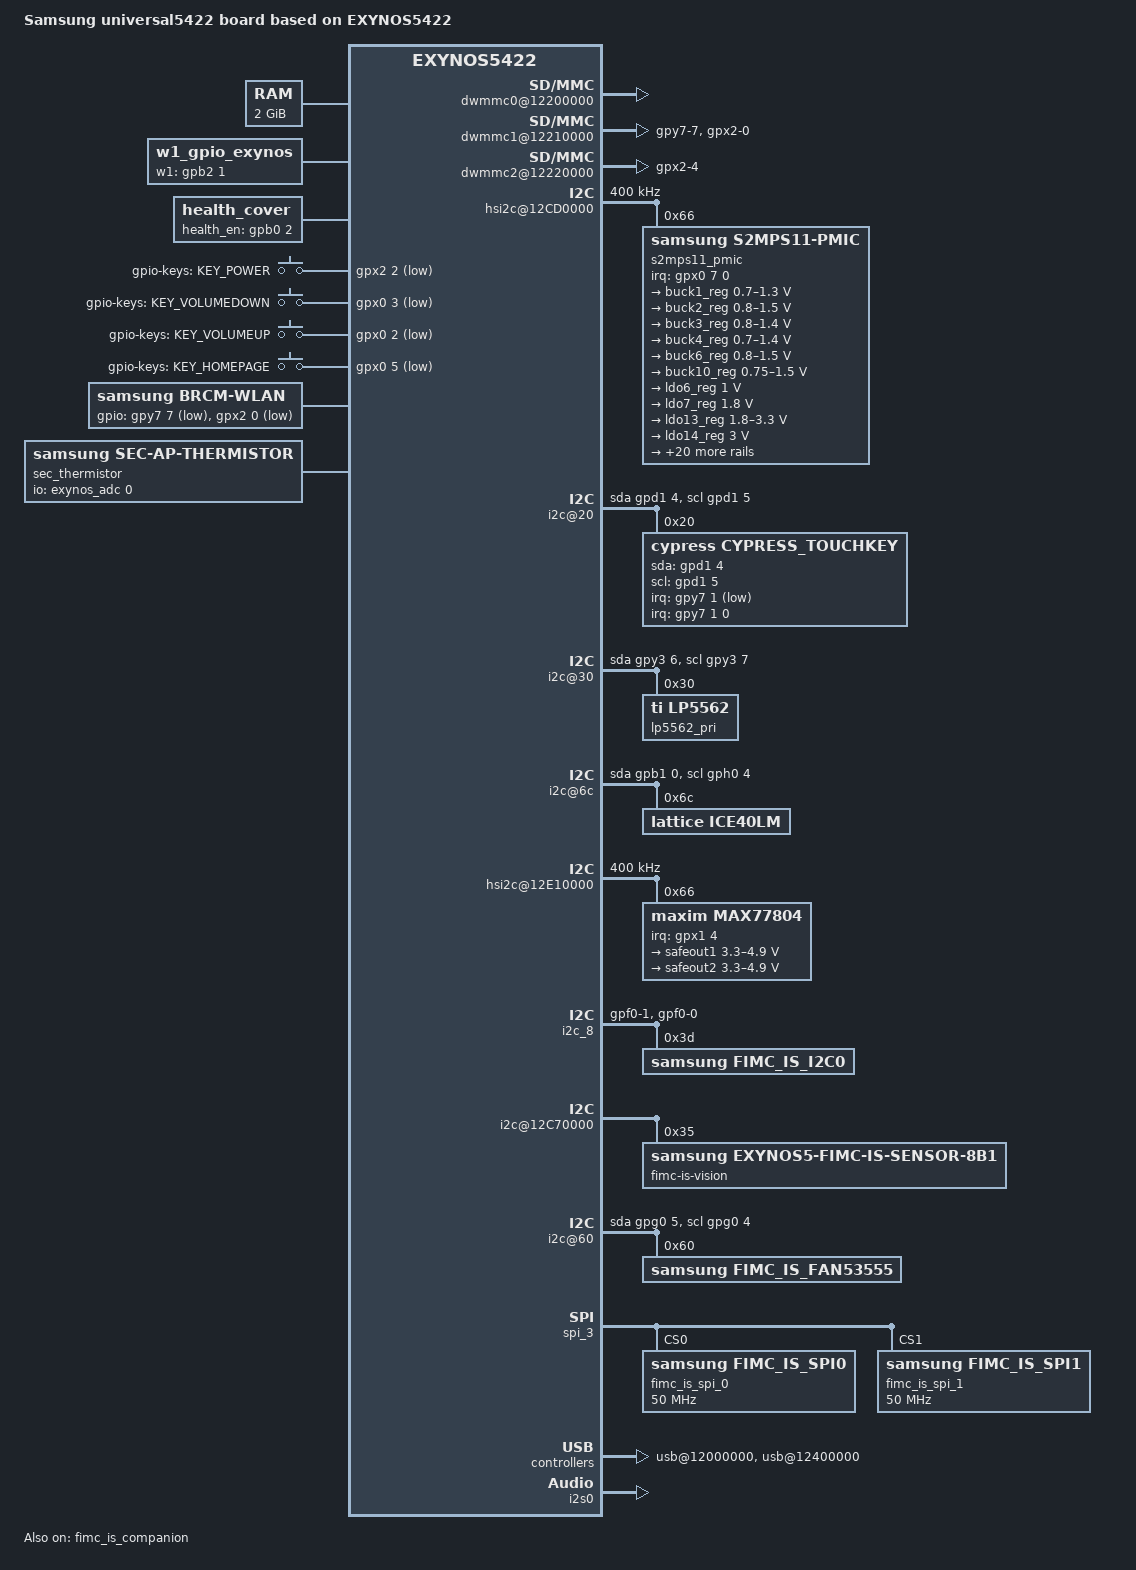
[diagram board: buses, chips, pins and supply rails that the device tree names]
/*
 * SAMSUNG universal5422 board device tree source
 *
 * Copyright (c) 2013 Samsung Electronics Co., Ltd.
 *             http://www.samsung.com
 *
 * This program is free software; you can redistribute it and/or modify
 * it under the terms of the GNU General Public License version 2 as
 * published by the Free Software Foundation.
*/

#include "exynos5422_evt0.dtsi"
#include "exynos5422-k_mhl2x.dtsi"
#include "exynos5422-k_gpio.dtsi"


/ {
	model = "Samsung universal5422 board based on EXYNOS5422";
	compatible = "samsung,universal5422", "samsung,exynos5422";

	memory {
		reg = <0x40000000 0x80000000>;
	};

	chosen {
		bootargs = "console=ttySAC2,115200 vmalloc=512M clk_ignore_unused";
	};

	fixed-rate-clocks {
		oscclk {
			compatible = "samsung,exynos5422-oscclk";
			clock-frequency = <24000000>;
		};
	};

	rtc {
		status = "okay";
	};

	dwmmc0@12200000 {
		status = "okay";
		num-slots = <1>;
		broken-cd;
		bypass-smu;
		fixed_volt;
		clock-gate;
		enable-cclk-on-suspend;
		only_once_tune;
		extra_tuning;
		supports-highspeed;
		supports-hs200-1-8v-mode;
		supports-ddr200-1-8v-mode;
		error-retry;
		enable-cache-control;
		supports-poweroff-notification;
		use-fine-tuning;
		supports-ddr200-enhanced-strobe;
		sw_data_timeout;
		fifo-depth = <0x40>;
		card-detect-delay = <200>;
		qos_int_level = <222000>;
		samsung,dw-mshc-ciu-div = <3>;
		samsung,dw-mshc-sdr-timing = <3 0 4 0>;
		samsung,dw-mshc-ddr-timing = <3 0 2 0>;
		samsung,dw-mshc-hs200-timing = <3 0 2 0>;
		samsung,dw-mshc-ddr200-timing = <1 1 2 0>;
		clk_pin = "gpc0-0";
		clk_addr = "13410000.pinctrl";
		clk_val = <0x3>;
		clk_str_num = <4>;
		num-ref-clks = <8>;
		ciu_clkin = <20812500 41625000 41625000 83250000 166500000 83250000 166500000 333000000>;
		pinctrl-names = "default";
		pinctrl-0 = <&sd0_clk &sd0_cmd &sd0_rdqs &sd0_bus1 &sd0_bus4 &sd0_bus8>;

		slot@0 {
			reg = <0>;
			bus-width = <8>;
		};
	};

	dwmmc1@12210000 {
		status = "okay";
		num-slots = <1>;
		channel = <1>;
		bypass-smu;
		clock-gate;
		caps-control;
		use-fine-tuning;
		ignore-phase = <(1 << 7)>;
		sw-timeout = <1000>;
		enable-cclk-on-suspend;
		fixed_volt;
		supports-highspeed;
		sw_data_timeout;
		supports-sdr104-mode;
		keep-power-in-suspend;
		pm-ignore-notify;
		cd-type-external;
		cd-type = <2>;
		use-broken-voltage;
		fifo-depth = <0x40>;
		card-detect-delay = <200>;
		qos_int_level = <222000>;
		samsung,dw-mshc-ciu-div = <3>;
		samsung,dw-mshc-sdr-timing = <3 0 2 0>;
		samsung,dw-mshc-ddr-timing = <3 0 2 0>;
		clk_pin = "gpc1-0";
		clk_addr = "13410000.pinctrl";
		clk_val = <0x3>;
		clk_str_num = <4>;
		num-ref-clks = <8>;
		ciu_clkin = <25000000 50000000 50000000 100000000 200000000 100000000 200000000 400000000>;
		tp_mon_depth = <3>;
			     /* Byte/s,	 MIF clk, CPU clk, KFC clk*/
		tp_mon_table = <18000000 825000	2000000 1500000
				12000000 413000	0	0
				0	 0	0	0>;
		pinctrl-names = "default";
		//pinctrl-0 = <&sd1_clk &sd1_cmd &sd1_bus1 &sd1_bus4>;
		pinctrl-0 = <&sd1_clk &sd1_cmd &sd1_bus1 &sd1_bus4 &cfg_wlanen &cfg_wlanhostwake>; /* Set WLAN_EN configuration of power down mode */

		slot@0 {
			reg = <0>;
			bus-width = <4>;
		};
	};


	dwmmc2@12220000 {
		status = "okay";
		num-slots = <1>;
		supports-highspeed;
		clock-gate;
		enable-cclk-on-suspend;
		sw_data_timeout;
                use-cpu-mode-tuning;
		use-fine-tuning;
		ignore-phase = <(1 << 7)>;
		fifo-depth = <0x40>;
		card-detect-delay = <200>;
		qos_int_level = <222000>;
		samsung,dw-mshc-ciu-div = <3>;
		samsung,dw-mshc-sdr-timing = <3 0 4 0>;
		samsung,dw-mshc-ddr-timing = <3 0 2 0>;
		clk_pin = "gpc2-0";
		clk_addr = "13410000.pinctrl";
		clk_val = <0x1>;
		clk_str_num = <4>;
		num-ref-clks = <8>;
		ciu_clkin = <20812500 41625000 41625000 83250000 166500000 83250000 166500000 333000000>;
		pinctrl-names = "default", "output";
		pinctrl-0 = <&sd2_clk &sd2_cmd &sd2_bus1 &sd2_bus4 &dwmmc2_cd_irq>;
		pinctrl-1 = <&sd2_clk_output &sd2_cmd_output &sd2_bus1 &sd2_bus4 &dwmmc2_cd_irq>;

		gpio-controller;
		#gpio-cells = <2>;
		cd-gpio = <&gpx2 4 0xf>;

		slot@0 {
			reg = <0>;
			bus-width = <4>;
			disable-wp;
		};
	};

	pinctrl@13400000 {
		pmic_irq: pmic-irq {
			samsung,pins = "gpx0-7";
			samsung,pin-pud = <3>;
			samsung,pin-drv = <3>;
		};

		hall_irq: hall-irq {
			samsung,pins = "gpx0-1";
			samsung,pin-function = <0xf>;
			samsung,pin-pud = <0>;
			samsung,pin-drv = <0>;
		};

		irda_irq: irda-irq {
			samsung,pins = "gpx0-4";
			samsung,pin-function = <0>;
			samsung,pin-pud = <0>;
			samsung,pin-drv = <0>;
		};

		mfd_irq: mfd-irq {
			samsung,pins = "gpx1-4";
			samsung,pin-function = <0>;
			samsung,pin-pud = <0>;
			samsung,pin-drv = <0>;
		};

		fuel_irq: fuel-irq {
			samsung,pins = "gpx1-5";
			samsung,pin-function = <0>;
			samsung,pin-pud = <0>;
			samsung,pin-drv = <0>;
		};

		ssp_ap_int: ssp-ap-int {
			samsung,pins = "gpx3-0";
			samsung,pin-function = <0>;
			samsung,pin-pud = <3>;
			samsung,pin-drv = <3>;
		};

		hrm_int: hrm-int {
			samsung,pins = "gpx3-1";
			samsung,pin-function = <0>;
			samsung,pin-pud = <0>;
			samsung,pin-drv = <3>;
		};

		ssp_irq: ssp-irq {
			samsung,pins = "gpx3-3";
			samsung,pin-function = <0>;
			samsung,pin-pud = <3>;
			samsung,pin-drv = <3>;
		};
		ssp_irq2: ssp-irq2 {
			samsung,pins = "gpx3-4";
			samsung,pin-function = <0>;
			samsung,pin-pud = <3>;
			samsung,pin-drv = <3>;
		};

		/* touchkey interrupt*/
		cfg_irq: cfg-irq {
			samsung,pins = "gpy7-1";
			samsung,pin-function = <0xf>;
			samsung,pin-pud = <0>;
			samsung,pin-drv = <0>;
		};
		cfg_input: cfg-input {
			samsung,pins = "gpy7-1";
			samsung,pin-function = <0>;
			samsung,pin-pud = <1>;
			samsung,pin-drv = <0>;
		};
		dwmmc2_cd_irq: dwmmc2-cd-irq {
			samsung,pins = "gpx2-4";
			samsung,pin-function = <0xf>;
			samsung,pin-pud = <3>;
			samsung,pin-drv = <3>;
		};
	};

	pinctrl@13410000 {
		/* touchkey i2c*/
		cfg_i2c: cfg-i2c {
			samsung,pins = "gpd1-5", "gpd1-4";
			samsung,pin-function = <3>;
			samsung,pin-pud = <0>;
			samsung,pin-drv = <0>;
		};
		cfg_gpio: cfg_gpio {
			samsung,pins = "gpd1-5", "gpd1-4";
			samsung,pin-function = <0>;
			samsung,pin-pud = <0>;
			samsung,pin-drv = <0>;
		};
		pm_wrsti: pm-wrsti {
			samsung,pins = "gpy3-0";
			samsung,pin-con-pdn = <3>;
		};
	};

	hsi2c@12CD0000 {
		clock-frequency = <400000>;
		status = "okay";

		s2mps11_pmic@66 {
			compatible = "samsung,s2mps11-pmic";
			reg = <0x66>;
			interrupts = <7 0 0>;
			interrupt-parent = <&gpx0>;
			pinctrl-names = "default";
			pinctrl-0 = <&pmic_irq &pm_wrsti>;
			/* RTC: wtsr/smpl */
			wtsr_en = <1>; /* enable */
			smpl_en = <1>; /* enable */
			wtsr_timer_val = <3>;	/* 1000ms */
			smpl_timer_val = <0>;	/* 500ms */
			check_jigon = <0>; /* do not check jigon */
			/* RTC: If it's first boot, reset rtc to 1/1/2014 12:00:00(Wed) */
			init_time,sec = <0>;
			init_time,min = <0>;
			init_time,hour = <12>;
			init_time,mday = <1>;
			init_time,mon = <0>;
			init_time,year = <114>;
			init_time,wday = <3>;

			regulators {
				buck1_reg: BUCK1 {
					regulator-name = "vdd_mif";
					regulator-min-microvolt = <700000>;
					regulator-max-microvolt = <1300000>;
					regulator-always-on;
					regulator-boot-on;
					regulator-ramp-delay = <12000>;
					regulator-initial-mode = <1>;
				};

				buck2_reg: BUCK2 {
					regulator-name = "vdd_eagle";
					regulator-min-microvolt = <800000>;
					regulator-max-microvolt = <1500000>;
					regulator-always-on;
					regulator-boot-on;
					regulator-ramp-delay = <12000>;
					regulator-initial-mode = <1>;
				};

				buck3_reg: BUCK3 {
					regulator-name = "vdd_int";
					regulator-min-microvolt = <800000>;
					regulator-max-microvolt = <1400000>;
					regulator-always-on;
					regulator-boot-on;
					regulator-ramp-delay = <12000>;
					regulator-initial-mode = <1>;
				};

				buck4_reg: BUCK4 {
					regulator-name = "vdd_g3d";
					regulator-min-microvolt = <700000>;
					regulator-max-microvolt = <1400000>;
					regulator-always-on;
					regulator-boot-on;
					regulator-ramp-delay = <12000>;
					regulator-initial-mode = <1>;
				};

				buck6_reg: BUCK6 {
					regulator-name = "vdd_kfc";
					regulator-min-microvolt = <800000>;
					regulator-max-microvolt = <1500000>;
					regulator-always-on;
					regulator-boot-on;
					regulator-ramp-delay = <12000>;
					regulator-initial-mode = <1>;
				};

				buck10_reg: BUCK10 {
					regulator-name = "vdd_cam_isp_1.0v";
					regulator-min-microvolt = <750000>;
					regulator-max-microvolt = <1500000>;
					regulator-always-on;
					regulator-boot-on;
					regulator-ramp-delay = <12000>;
					regulator-initial-mode = <1>;
				};

				ldo6_reg: LDO6 {
					regulator-name = "vdd_ldo6";
					regulator-min-microvolt = <1000000>;
					regulator-max-microvolt = <1000000>;
					regulator-always-on;
					regulator-initial-mode = <1>;
				};

				ldo7_reg: LDO7 {
					regulator-name = "vdd_ldo7";
					regulator-min-microvolt = <1800000>;
					regulator-max-microvolt = <1800000>;
					regulator-always-on;
					regulator-initial-mode = <1>;
				};

				ldo13_reg: LDO13 {
					regulator-name = "vqmmc";
					regulator-min-microvolt = <1800000>;
					regulator-max-microvolt = <3300000>;
					regulator-boot-on;
					regulator-ramp-delay = <12000>;
					regulator-initial-mode = <1>;
				};

				ldo14_reg: LDO14 {
					regulator-name = "vcc_3.0v_motor";
					regulator-min-microvolt = <3000000>;
					regulator-max-microvolt = <3000000>;
					regulator-initial-mode = <3>;
				};

				ldo15_reg: LDO15 {
					regulator-name = "VT_CAM_2.8V";
					regulator-min-microvolt = <2800000>;
					regulator-max-microvolt = <2800000>;
				};

				ldo17_reg: LDO17 {
					regulator-name = "IR_3.3V_AP";
					regulator-min-microvolt = <3300000>;
					regulator-max-microvolt = <3300000>;
					regulator-initial-mode = <3>;
				};

				ldo18_reg: LDO18 {
					regulator-name = "vdd_ldo18";
					regulator-min-microvolt = <1800000>;
					regulator-max-microvolt = <1800000>;
					regulator-always-on;
					regulator-initial-mode = <3>;
				};

				ldo19_reg: LDO19 {
					regulator-name = "vmmc";
					regulator-min-microvolt = <1800000>;
					regulator-max-microvolt = <2850000>;
					regulator-boot-on;
					regulator-initial-mode = <1>;
				};

				ldo20_reg: LDO20 {
					regulator-name = "VT_CAM_1.8V";
					regulator-min-microvolt = <1800000>;
					regulator-max-microvolt = <1800000>;
				};

				ldo21_reg: LDO21 {
					regulator-name = "CAM_IO_1.8V_AP";
					regulator-min-microvolt = <1800000>;
					regulator-max-microvolt = <1800000>;
				};

				ldo22_reg: LDO22 {
					regulator-name = "CAM_SEN_CORE_1.2V_AP";
					regulator-min-microvolt = <1200000>;
					regulator-max-microvolt = <1200000>;
				};

				ldo23_reg: LDO23 {
					regulator-name = "vdd_mifs";
					regulator-min-microvolt = <800000>;
					regulator-max-microvolt = <1100000>;
					regulator-always-on;
					regulator-initial-mode = <1>;
					regulator-ramp-delay = <12000>;
				};

				ldo24_reg: LDO24 {
					regulator-name = "HRM_3.3V_AP";
					regulator-min-microvolt = <3300000>;
					regulator-max-microvolt = <3300000>;
				};

				ldo25_reg: LDO25 {
					regulator-name = "vdd_ldo25";
					regulator-min-microvolt = <1800000>;
					regulator-max-microvolt = <1800000>;
					regulator-boot-on;
					regulator-initial-mode = <3>;
				};

				ldo26_reg: LDO26 {
					regulator-name = "CAM_AF_2.8V_AP";
					regulator-min-microvolt = <2800000>;
					regulator-max-microvolt = <2800000>;
				};

				ldo27_reg: LDO27 {
					regulator-name = "vdd_g3ds";
					regulator-min-microvolt = <800000>;
					regulator-max-microvolt = <1100000>;
					regulator-always-on;
					regulator-initial-mode = <1>;
					regulator-ramp-delay = <12000>;
				};

				ldo28_reg: LDO28 {
					regulator-name = "vdd_ldo28";
					regulator-min-microvolt = <3000000>;
					regulator-max-microvolt = <3000000>;
					regulator-boot-on;
					regulator-initial-mode = <3>;
				};


				ldo30_reg: LDO30 {
					regulator-name = "vtouch_1.8v";
					regulator-min-microvolt = <1800000>;
					regulator-max-microvolt = <1800000>;
				};

				ldo31_reg: LDO31 {
					regulator-name = "VDDA_1.8V_COMP";
					regulator-min-microvolt = <1800000>;
					regulator-max-microvolt = <1800000>;
				};

				ldo32_reg: LDO32 {
					regulator-name = "tsp_io";
					regulator-min-microvolt = <1800000>;
					regulator-max-microvolt = <1800000>;
				};

				ldo33_reg: LDO33 {
					regulator-name = "VCC_1.8V_MHL";
					regulator-min-microvolt = <1800000>;
					regulator-max-microvolt = <1800000>;
				};

				ldo34_reg: LDO34 {
					regulator-name = "VCC_3.3V_MHL";
					regulator-min-microvolt = <3300000>;
					regulator-max-microvolt = <3300000>;
				};

				ldo35_reg: LDO35 {
					regulator-name = "VSIL_1.2A";
					regulator-min-microvolt = <1200000>;
					regulator-max-microvolt = <1200000>;
				};

				ldo38_reg: LDO38 {
					regulator-name = "vtouch_3.3v";
					regulator-min-microvolt = <3300000>;
					regulator-max-microvolt = <3300000>;
				};
			};
		};
	};

	i2c@20{
		compatible = "i2c-gpio";
		gpios = <&gpd1 4 0 /* sda */
				&gpd1 5 0 /* scl */
				>;
		i2c-gpio,delay-us = <2>;
		#address-cells = <1>;
		#size-cells = <0>;
		status = "okay";

		cypress@20 {
			compatible = "cypress,cypress_touchkey";
			pinctrl-names = "on_irq","off_irq","on_i2c","off_i2c";
			pinctrl-0 = <&cfg_irq>;
			pinctrl-1 = <&cfg_input>;
			pinctrl-2 = <&cfg_i2c>;
			pinctrl-3 = <&cfg_gpio>;
			reg = <0x20>;
			interrupts = <1 0 0>;
			interrupt-parent = <&gpy7>;
			cypress,sda-gpio = <&gpd1 4 0>;
			cypress,scl-gpio = <&gpd1 5 0>;
			cypress,irq-gpio = <&gpy7 1 1>;
			cypress,i2c-gpio = "true";
			cypress,ic-stabilizing-time = <50>;
			cypress,multi-touchkey-fw-version = <0x1c>;
		};
	};

	i2c@30 {
		compatible = "i2c-gpio";
		gpios = <&gpy3 6 0 /* sda */
			&gpy3 7 0 /* scl */
			>;
		i2c-gpio,delay-us = <2>;
		#address-cells = <1>;
		#size-cells = <0>;
		status = "okay";
/* below change */
		lp5562@30 {
			compatible = "ti,lp5562";
			reg = <0x30>;
			label = "lp5562_pri";
			clock-mode = /bits/ 8 <2>;

			chan0 {
				chan-name = "R";
				led-cur = /bits/ 8 <0x40>;
				max-cur = /bits/ 8 <0x40>;
			};

			chan1 {
				chan-name = "G";
				led-cur = /bits/ 8 <0x40>;
				max-cur = /bits/ 8 <0x40>;
			};

			chan2 {
				chan-name = "B";
				led-cur = /bits/ 8 <0x40>;
				max-cur = /bits/ 8 <0x40>;
			};

			chan3 {
				chan-name = "W";
				led-cur = /bits/ 8 <0x20>;
				max-cur = /bits/ 8 <0x40>;
			};
		};
/* same as Documentation */
	};

	lp5562_pattern_data {
	/* pattern data basic info*/
		pattern_arr_size = <6>;
	/* pattern data info start */
	/* mode_charging */
		dataset0 {
			num = <0>;
			type = "r";
			size = <2>;
			data = /bits/ 8 <0x40 0xFF>;
		};
	/* mode_charging_err */
		dataset1 {
			num = <1>;
			type = "r";
			size = <8>;
			data = /bits/ 8 <0x40 0x00 0x60 0x00
					0x40 0xFF 0x60 0x00>;
		};
	/* mode_missed_noti */
		dataset2 {
			num = <2>;
			type = "b";
			size = <10>;
			data = /bits/ 8 <0x40 0x00 0x60 0x00
					0xA4 0xA1 0x40 0xFF
					0x60 0x00>;
		};
	/* mode_low_batt */
		dataset3 {
			num = <3>;
			type = "r";
			size = <10>;
			data = /bits/ 8 <0x40 0x00 0x60 0x00
					0xA4 0xA1 0x40 0xFF
					0x60 0x00>;
		};
	/* mode_full_chg */
		dataset4 {
			num = <4>;
			type = "g";
			size = <2>;
			data = /bits/ 8 <0x40 0xFF>;
		};
	/* mode_powering_green */
		dataset5 {
			num = <5>;
			type = "g";
			size = <18>;
			data = /bits/ 8 <0x40 0x11 0x0B 0x7A
					0x40 0x8C 0x55 0x00
					0xE0 0x08 0x0B 0xFA
					0x40 0x11 0x55 0x00
					0xE0 0x08>;
		};
	/* mode_powering_blue */
		dataset6 {
			num = <5>;
			type = "b";
			size = <18>;
			data = /bits/ 8 <0x40 0xCC 0x1B 0x32
					0x40 0xFF 0x55 0x00
					0xE1 0x00 0x1B 0xB2
					0x40 0xCC 0x55 0x00
					0xE1 0x00>;
		};
	};

	i2c@6c {
		compatible = "i2c-gpio";
		gpios = <&gpb1 0 0 /* sda */
			&gph0 4 0 /* scl */
			>;
		i2c-gpio,delay-us = <2>;
		#address-cells = <1>;
		#size-cells = <0>;
		status = "okay";
		ice40lm@6c {
			compatible = "lattice,ice40lm";
			reg = <0x6c>;
			ice40lm,creset_b = <&gpj4 2 0>;
			ice40lm,cdone = <&gpg0 2 0>;
			ice40lm,irda_irq = <&gpx0 4 0>;
			ice40lm,spi_si_sda = <&gpb1 0 0>;
			ice40lm,spi_clk_scl = <&gph0 4 0>;
			ice40lm,spi_en_rstn = <&gpy7 0 0>;
			ice40lm,power = "REG";
			ice40lm,regulator_name = "IR_3.3V_AP";
			clocks = <&clock 4200>;
			clock-names = "clk_out";
		};
	};

	pinctrl@14010000 {
		i2c3_bus: i2c3-bus {
			samsung,pin-pud = <0>;
		};

		health_cover: health_cover {
			samsung,pins = "gpb0-2";
			samsung,pin-function = <2>;
			samsung,pin-pud = <0>;
			samsung,pin-drv = <0>;
		};

		vibetonz_pwm: vibetonz_pwm {
			samsung,pins = "gpb2-0";
			samsung,pin-function = <2>;
			samsung,pin-pud = <0>;
			samsung,pin-drv = <0>;
		};

		hs_i2c3_bus: hs-i2c3-bus {
				samsung,pins = "gpb2-3", "gpb2-2";
				samsung,pin-function = <3>;
				samsung,pin-pud = <0>;
				samsung,pin-drv = <0>;
		};

		hs_i2c5_bus: hs-i2c5-bus {
			samsung,pins = "gpb3-7", "gpb3-6";
			samsung,pin-function = <2>;
			samsung,pin-pud = <0>;
			samsung,pin-drv = <0>;
		};

		fimc_is_ch0_mclk: fimc-is-ch0_mclk {
			samsung,pin-drv = <2>;
		};

		fimc_is_ch0_mclk_off: fimc-is-ch0_mclk_off {
			samsung,pins = "gph0-5";
			samsung,pin-function = <1>;
			samsung,pin-pud = <1>;
			samsung,pin-drv = <0>;
		};

		fimc_is_ch2_mclk: fimc-is-ch2-mclk {
			samsung,pin-drv = <2>;
		};

		fimc_is_ch2_mclk_off: fimc-is-ch2_mclk_off {
			samsung,pins = "gph0-7";
			samsung,pin-function = <1>;
			samsung,pin-pud = <1>;
			samsung,pin-drv = <0>;
		};
	};

	hsi2c@12E10000 {
		samsung,hs-mode;
		clock-frequency = <400000>;
		status = "okay";

		max77804@66 {
			compatible = "maxim,max77804";
			reg = <0x66>;
			pinctrl-names = "default";
			pinctrl-0 = <&mfd_irq &vibetonz_pwm>;
			max77804,irq-gpio = <&gpx1 4 0>;
			max77804,irqf-trigger = "falling_edge";
			max77804,wakeup;

			regulators {
				safeout1: ESAFEOUT1 {
					regulator-compatible = "safeout1";
					regulator-name = "safeout1_range";
					regulator-min-microvolt = <3300000>;
					regulator-max-microvolt = <4900000>;
					regulator-boot-on;
				};

				safeout2: ESAFEOUT2 {
					regulator-compatible = "safeout2";
					regulator-name = "safeout2_range";
					regulator-min-microvolt = <3300000>;
					regulator-max-microvolt = <4900000>;
				};
			};
		};
	};

	i2c_8: i2c@13130000 {
		compatible = "samsung,exynos5430-fimc-i2c";
		reg = <0x13130000 0x1000>;
		interrupt-parent = <&combiner>;
		interrupts = <19 4>;
		#address-cells = <1>;
		#size-cells = <0>;
		pinctrl-names = "default";
		pinctrl-0 = <&fimc_is_i2c_0>;
		clocks = <&clock 4171>, <&clock 4171>;
		clock-names = "rate_i2c","gate_i2c";
		samsung,i2c-sda-delay = <100>;
		samsung,i2c-max-bus-freq = <400000>;
		status = "okay";

		fimc_is_i2c0@3d {
			compatible = "samsung,fimc_is_i2c0";
			reg = <0x3d>;
		};
	};

	/* vision */
	i2c@12C70000 {
		status = "okay";
		samsung,i2c-sda-delay = <100>;
		samsung,i2c-max-bus-freq = <400000>;
		status = "okay";
		fimc-is-vision@20 {
			compatible = "samsung,exynos5-fimc-is-sensor-8b1";
			reg = <0x35>;
		};
	};

        i2c@60{
                compatible = "i2c-gpio";
                gpios = <&gpg0 5 0 /* sda */
                          &gpg0 4 0 /* scl */
                          >;
                i2c-gpio,delay-us = <2>;
                #address-cells = <1>;
                #size-cells = <0>;
                status = "okay";

                fimc_is_fan53555@60 {
                        compatible = "samsung,fimc_is_fan53555";
                        reg = <0x60>;
                        comp_en = <&gpe0 5 0>;
                };
        };

	pinctrl@13410000 {
		svc_i2c: svc_i2c {
			samsung,pins = "gpy3-7", "gpy3-6";
			samsung,pin-function = <0>;
			samsung,pin-pud = <0>;
			samsung,pin-drv = <0>;
		};
	};

	pinctrl@14000000 {
		disp_pcd: disp_pcd {
			samsung,pins = "gpg0-6";
			samsung,pin-function = <0>;
			samsung,pin-pud = <1>;
		};
	};

	pinctrl@14010000 {
		disp_errfg: disp_errfg {
			samsung,pins = "gpb0-1";
			samsung,pin-function = <0>;
			samsung,pin-pud = <1>;
		};
	};

/*disp_driver {*/
	fimd_fb: fimd_fb {
		LCD18V-supply = <&ldo25_reg>;
		LCD30V-supply = <&ldo28_reg>;
		oled-id-gpio = <&gpd1 3 0x0>;
		oled-pcd-gpio = <&gpg0 6 0x0>;
		oled-errfg-gpio = <&gpb0 1 0x0>;
		lcd_info = <&s6e3fa2>;
		gpios = <&gpd1 7 0xf>;

		pinctrl-names = "default", "turnon_tes", "turnoff_tes";
		pinctrl-0 = <&disp_pcd &disp_errfg>;
		pinctrl-1 = <&disp_teson>;
		pinctrl-2 = <&disp_tesoff>;

		fimd: fimd_ctrl {
			samsung,left_margin = <10>;
			samsung,right_margin = <10>;
			samsung,upper_margin = <4>;
			samsung,lower_margin = <3>;
			samsung,hsync_len = <10>;
			samsung,vsync_len = <1>;
			samsung,xres = <1080>;
			samsung,yres = <1920>;
			samsung,virtual_x = <1080>;
			samsung,virtual_y = <3840>;
			samsung,width = <65>;
			samsung,height = <115>;
			samsung,max_bpp = <32>;
			samsung,default_bpp = <24>;

			fb_driver_data {
				fb_win_variant_0 {
					has_osd_c = <1>;
					has_osd_d = <0>;
					has_osd_alpha = <0>;
					osd_size_off = <0x08>;
					palette_size = <256>;
					VALID_BPP_1248 = <1>;
					VALID_BPP_13 = <1>;
					VALID_BPP_15 = <1>;
					VALID_BPP_16 = <1>;
					VALID_BPP_18 = <1>;
					VALID_BPP_19 = <1>;
					VALID_BPP_24 = <1>;
					VALID_BPP_25 = <1>;
					VALID_BPP_32 = <1>;
				};
				fb_win_variant_1 {
					has_osd_c = <1>;
					has_osd_d = <1>;
					has_osd_alpha = <1>;
					osd_size_off = <0x0c>;
					palette_size = <256>;
					VALID_BPP_1248 = <1>;
					VALID_BPP_13 = <1>;
					VALID_BPP_15 = <1>;
					VALID_BPP_16 = <1>;
					VALID_BPP_18 = <1>;
					VALID_BPP_19 = <1>;
					VALID_BPP_24 = <1>;
					VALID_BPP_25 = <1>;
					VALID_BPP_32 = <1>;
				};
				fb_win_variant_2 {
					has_osd_c = <1>;
					has_osd_d = <1>;
					has_osd_alpha = <1>;
					osd_size_off = <0x0c>;
					palette_size = <256>;
					VALID_BPP_1248 = <1>;
					VALID_BPP_13 = <1>;
					VALID_BPP_15 = <1>;
					VALID_BPP_16 = <1>;
					VALID_BPP_18 = <1>;
					VALID_BPP_19 = <1>;
					VALID_BPP_24 = <1>;
					VALID_BPP_25 = <1>;
					VALID_BPP_32 = <1>;
				};
				fb_win_variant_3 {
					has_osd_c = <1>;
					has_osd_d = <0>;
					has_osd_alpha = <1>;
					osd_size_off = <0x0>;
					palette_size = <256>;
					VALID_BPP_1248 = <1>;
					VALID_BPP_13 = <1>;
					VALID_BPP_15 = <1>;
					VALID_BPP_16 = <1>;
					VALID_BPP_18 = <1>;
					VALID_BPP_19 = <1>;
					VALID_BPP_24 = <1>;
					VALID_BPP_25 = <1>;
					VALID_BPP_32 = <1>;
				};
				fb_win_variant_4 {
					has_osd_c = <1>;
					has_osd_d = <0>;
					has_osd_alpha = <1>;
					osd_size_off = <0x0>;
					palette_size = <256>;
					VALID_BPP_1248 = <1>;
					VALID_BPP_13 = <1>;
					VALID_BPP_15 = <1>;
					VALID_BPP_16 = <1>;
					VALID_BPP_18 = <1>;
					VALID_BPP_19 = <1>;
					VALID_BPP_24 = <1>;
					VALID_BPP_25 = <1>;
					VALID_BPP_32 = <1>;
				};
			};
		};
		mipi_dsi: mipi_dsi {
			gpios = <&gpy7 4 0x1>, <&gpy3 2 0x1>, <&gpb0 0 0x1>;

			interrupt-parent = <&gic>;
			interrupts = <0 82 0>;
			/* Interface definition: 0 - DSIM_COMMAND,
						 1 - DSIM_VIDEO */
			e_interface = <0>;

			/* Pixel format : 0 - DSIM_CMD_3BPP,
					  1 - DSIM_CMD_8BPP,
					  2 - DSIM_CMD_12BPP,
					  3 - DSIM_CMD_16BPP,
					  4 - DSIM_VID_16BPP_565,
					  5 - DSIM_VID_18BPP_666PACKED,
					  6 - DSIM_18BPP_666LOOSELYPACKED,
					  7 - DSIM_24BPP_888 */
			e_pixel_format = <7>;

			/* main frame fifo auto flush at VSYNC pulse */
			auto_flush = <0>;
			eot_disable = <1>;
			auto_vertical_cnt = <0>;
			hse = <0>;
			hfp = <0>;
			hbp = <0>;
			hsa = <0>;

			/* num of data lane : 0 - DSIM_DATA_LANE_1,
					      1 - DSIM_DATA_LANE_2,
					      2 - DSIM_DATA_LANE_3,
					      3 - DSIM_DATA_LANE_4 */
			e_no_data_lane = <3>;
			/* byte clock divider : 0 - DSIM_PLL_OUT_DIV8,
						1 - DSIM_EXT_CLK_DIV8,
						2 - DSIM_EXT_CLK_BYPASS */
			e_byte_clk = <0>;
			/* Burst mode : 0 - DSIM_NON_BURST_SYNC_EVENT,
					2 - DSIM_NON_BURST_SYNC_PULSE,
					1 - DSIM_BURST
					4 - DSIM_NON_VIDEO_MODE */
			e_burst_mode = <1>;
			/* PMS
			   - 1. LCD_S6E8AA0 : p - 4, m - 80, s - 1
			   - 2. LCD_S6E3FA0(COMMAND): p - 2, m - 46, s - 0
			   - 3. LCD_S6E3FA0(VIDEO): p - 4, m - 75, s - 0
			   - 4. LCD_S6E3HA0(COMMAND): p - 2, m - 46, s - 0
			   - 5. LCD_S6E3FA2(COMMAND): p - 3, m - 56, s - 0 */
			p = <3>;
			m = <56>;
			s = <0>;
			/* D-PHY PLL stable time spec :min = 200usec ~ max 400usec */
			pll_stable_time = <23000>;
			/* escape clk : 16MHz */
			esc_clk = <16000000>;
			/* stop state holding counter after bta change count 0 ~ 0xfff */
			stop_holding_cnt = <10>;
			/* bta timeout 0 ~ 0xff */
			bta_timeout = <0xff>;
			/* lp rx timeout 0 ~ 0xffff */
			rx_timeout = <0xffff>;
		};
		s6e3fa2: s6e3fa2_fhd {
			mode = <0>;
			resolution = <1080 1920>;
			size = <65 115>;
			timing,refresh = <60>;
			timing,h-porch = <10 10 10>;
			timing,v-porch = <4 3 1>;
			timing,dsi-hs-clk = <896>;
			timing,dsi-escape-clk = <19>;
			mic = <1>;
		};
		decon_mic: decon_mic {
			sysreg1 = <0x10050214>;
		};
	};

	spi_3: spi@131a0000 {
		#address-cells = <1>;
		#size-cells = <0>;

		num-cs = <2>;

		fimc_is_spi_0@0 {
			compatible = "samsung,fimc_is_spi0";
			spi-max-frequency = <50000000>;
			reg = <0x0>;

			controller-data {
				cs-gpio = <&gpe0 6 0>;
				samsung,spi-feedback-delay = <2>;
			};
		};

		fimc_is_spi_1@1 {
			compatible = "samsung,fimc_is_spi1";
			fimc_is_spi_sclk = "gpf1-0";
			fimc_is_spi_ssn = "gpf1-1";
			fimc_is_spi_miso = "gpf1-2";
			fimc_is_spi_mois = "gpf1-3";
			spi-max-frequency = <50000000>;
			reg = <0x1>;
			pinctrl-names = "default";
			pinctrl-0 = <&fimc_is_comp_int>;

			controller-data {
				cs-gpio = <&gpf1 1 0>;
				samsung,spi-feedback-delay = <2>;
			};
		};
	};

	/* Companion driver */
	fimc_is_companion: fimc_is_companion@13180000 {
		compatible = "samsung,exynos5-fimc-is-companion";
		pinctrl-names = "default", "ch0", "af0", "off0";
		pinctrl-0 = <&fimc_is_ch0_mclk_off>;
		pinctrl-1 = <&fimc_is_ch0_mclk>;
		pinctrl-2 = <&fimc_is_ch0_mclk &fimc_is_ch1_i2c>;
		pinctrl-3 = <&fimc_is_ch0_mclk_off>;

		scenario = <0>;
		mclk_ch = <0>;
		sensor_id = <10>;

		gpio_reset = <&gpe0 4 0x1>;
		gpios_cam_en = <&gpd1 6 0x1>; /* MAIN_CAM_A2.8V_EN */
		gpios_comp_en = <&gpe0 5 0x1>; /* COMP_EN */
		gpios_comp_reset = <&gpd1 0 0x1>; /* COMP_rstn */

		status = "okay";
	};

	/* CAMIF0 - MIPI-CSIS0, FIMC-Lite0 driver */
	fimc_is_sensor0: fimc_is_sensor@13C00000 {
		scenario = <0>;
		gpio_reset = <&gpe0 4 0x1>;
		gpios_cam_en = <&gpd1 6 0x1>; /* MAIN_CAM_A2.8V_EN */
		id = <0>;
		mclk_ch = <0>;
		csi_ch = <0>;
		flite_ch = <0>;
		i2c_ch = <0x100>;
		i2c_addr = <0x5A5A>;
		flash_first_gpio = <1>; /* XISPGP2 */
		flash_second_gpio = <2>;
		sensor_name = "2p2";
		sensor_id = <10>;
		is_bns = <1>;
		status = "okay";
	};

	/* CAMIF1 - MIPI-CSIS1, FIMC-Lite1 driver */
	fimc_is_sensor1: fimc_is_sensor@13C10000 {
		pinctrl-names ="default", "ch1", "off1";
		pinctrl-0 = <&fimc_is_ch2_mclk_off>;
		pinctrl-1 = <&fimc_is_ch2_i2c &fimc_is_ch2_mclk>;
		pinctrl-2 = <&fimc_is_ch2_mclk_off>;

		scenario = <0>;
		gpio_reset = <&gpe0 3 0x1>;
		gpio_standby = <&gpe0 0 0x1>;
		gpios_cam_en = <&gpd1 2 0x1>; /* VT_CAM_1.2V_EN */
		id = <1>;
		mclk_ch = <2>;
		csi_ch = <1>;
		flite_ch = <1>;
		i2c_ch = <0x2>;
		i2c_addr = <0x6A>;
		sensor_name = "8b1";
		sensor_id = <11>;
		is_bns = <0>;
		status = "okay";
	};

	/* FIMC-IS driver */
	fimc_is@13000000 {
		companion_spi_channel = <0>;
		use_vision = <1>;
		fimc_is_dvfs {
			default_int = <600000>; /* L0 */
			default_cam = <666000>; /* L0 */
			default_mif = <825000>; /* L0 */
			default_i2c = <0>;

			front_preview_int = <460000>; /* L1-2 */
			front_preview_cam = <333000>; /* L3 */
			front_preview_mif = <413000>; /* L4 */
			front_preview_i2c = <0>;

			front_capture_int = <460000>; /* L1-2 */
			front_capture_cam = <333000>; /* L3 */
			front_capture_mif = <413000>; /* L4 */
			front_capture_i2c = <0>;

			front_camcording_int = <460000>; /* L1-2 */
			front_camcording_cam = <333000>; /* L3 */
			front_camcording_mif = <413000>; /* L4 */
			front_camcording_i2c = <0>;

			front_vt1_int = <460000>; /* L1-2 */
			front_vt1_cam = <333000>; /* L3 */
			front_vt1_mif = <413000>; /* L4 */
			front_vt1_i2c = <0>;

			front_vt2_int = <460000>; /* L1-2 */
			front_vt2_cam = <333000>; /* L3 */
			front_vt2_mif = <413000>; /* L4 */
			front_vt2_i2c = <0>;

			rear_preview_fhd_int = <500000>; /* L1 */
			rear_preview_fhd_cam = <222000>; /* L4 */
			rear_preview_fhd_mif = <633000>; /* L2 */
			rear_preview_fhd_i2c = <0>;

			rear_preview_whd_int = <500000>; /* L1 */
			rear_preview_whd_cam = <444000>; /* L2 */
			rear_preview_whd_mif = <633000>; /* L2 */
			rear_preview_whd_i2c = <0>;

			rear_preview_uhd_int = <600000>; /* L0 */
			rear_preview_uhd_cam = <666000>; /* L0 */
			rear_preview_uhd_mif = <825000>; /* L0 */
			rear_preview_uhd_i2c = <0>;

			rear_capture_int = <600000>; /* L0 */
			rear_capture_cam = <666000>; /* L0 */
			rear_capture_mif = <825000>; /* L0 */
			rear_capture_i2c = <0>;

			rear_camcording_fhd_int = <500000>; /* L1 */
			rear_camcording_fhd_cam = <444000>; /* L2 */
			rear_camcording_fhd_mif = <543000>; /* L3 */
			rear_camcording_fhd_i2c = <0>;

			rear_camcording_whd_int = <500000>; /* L1 */
			rear_camcording_whd_cam = <444000>; /* L2 */
			rear_camcording_whd_mif = <633000>; /* L2 */
			rear_camcording_whd_i2c = <0>;

			rear_camcording_uhd_int = <600000>; /* L0 */
			rear_camcording_uhd_cam = <666000>; /* L0 */
			rear_camcording_uhd_mif = <825000>; /* L0 */
			rear_camcording_uhd_i2c = <0>;

			dual_preview_int = <600000>; /* L0 */
			dual_preview_cam = <333000>; /* L3 */
			dual_preview_mif = <825000>; /* L0 */
			dual_preview_i2c = <0>;

			dual_capture_int = <600000>; /* L0 */
			dual_capture_cam = <666000>; /* L0 */
			dual_capture_mif = <825000>; /* L0 */
			dual_capture_i2c = <0>;

			dual_camcording_int = <600000>; /* L0 */
			dual_camcording_cam = <333000>; /* L3 */
			dual_camcording_mif = <825000>; /* L0 */
			dual_camcording_i2c = <0>;

			high_speed_fps_int = <600000>; /* L0 */
			high_speed_fps_cam = <666000>; /* L0 */
			high_speed_fps_mif = <825000>; /* L0 */
			high_speed_fps_i2c = <0>;

			dis_enable_int = <600000>; /* L0 */
			dis_enable_cam = <666000>; /* L0 */
			dis_enable_mif = <825000>; /* L0 */
			dis_enable_i2c = <0>;

			max_int = <600000>; /* L0 */
			max_cam = <666000>; /* L0 */
			max_mif = <825000>; /* L0 */
			max_i2c = <0>;
		};
	};

	pinctrl@13400000 {
		/* VT_CAM_ID */
		fimc_is_vt_cam_id: fimc_is_vt_cam_id {
			samsung,pins = "gpy7-2";
			samsung,pin-function = <0>;
			samsung,pin-pud = <0>;
			samsung,pin-drv = <0>;
		};
		/* CAM_SENSOR_DET */
		fimc_is_main_cam_det: fimc_is_main_cam_det {
			samsung,pins = "gpy7-3";
			samsung,pin-function = <0>;
			samsung,pin-pud = <1>;
			samsung,pin-drv = <0>;
		};
	};

	pinctrl@13410000 {
		/* MAIN_CAM_A2.8V_EN */
		fimc_is_main_cam_en: fimc_is_main_cam_en {
			samsung,pins = "gpd1-6";
			samsung,pin-function = <1>;
			samsung,pin-pud = <0>;
			samsung,pin-drv = <0>;
		};
		/* VT_CAM_1.2V_EN */
		fimc_is_vt_cam_en: fimc_is_vt_cam_en {
			samsung,pins = "gpd1-2";
			samsung,pin-function = <1>;
			samsung,pin-pud = <0>;
			samsung,pin-drv = <0>;
		};
	};

	pinctrl@14000000 {
		fimc_is_i2c_0: fimc-is-i2c-0 {
			samsung,pins = "gpf0-1", "gpf0-0";
			samsung,pin-function = <2>;
			samsung,pin-pud = <3>;
			samsung,pin-drv = <6>;
		};
		fimc_is_spi_pin0: fimc-is-spi-pin0 {
			samsung,pins = "gpf1-3", "gpf1-2", "gpf1-1", "gpf1-0";
			samsung,pin-function = <1>;
			samsung,pin-pud = <1>;
			samsung,pin-drv = <0>;
		};
		fimc_is_flash: fimc-is-flash {
			samsung,pins = "gpe0-2", "gpe0-1";
			samsung,pin-function = <2>;
			samsung,pin-pud = <0>;
			samsung,pin-drv = <0>;
		};
		/* COMP_SPI_INT */
		fimc_is_comp_int: fimc-is-comp-int {
			samsung,pins = "gpe1-0";
			samsung,pin-function = <3>;
			samsung,pin-pud = <0>;
			samsung,pin-drv = <0>;
		};
	};

	muic {
		status = "disabled";
		muic,support-list = "MHL","OTG","Jig USB On","Jig UART Off",
				    "Jig UART Off + VB","Jig UART On","TA","USB","CDP",
				    "Unofficial","Fuelgauge test","Charging Cable";
	};

	hall {
		status = "okay";
		compatible = "hall";
		pinctrl-names = "default";
		pinctrl-0 = <&hall_irq>;
		hall,gpio_flip_cover = <&gpx0 1 0>;
		hall,gsm_wa = <1>;
	};

	haptic {
		status = "okay";
		haptic,max_timeout = <10000>;
/* can not be bigger than period */
		haptic,duty = <32047>;
/* input freq : 233Hz */
		haptic,period = <33500>;
		haptic,reg2 = <0x82>;
		haptic,pwm_id = <0>;
		haptic,regulator_name = "vcc_3.0v_motor";
	};

	torch {
		status = "okay";
		leds1 {
			ledname = "leds-sec1";
		/* MAX77804_FLASH_LED_1 */
			id = <0>;
		/* MAX77804_FLASH_TIME_187P5MS */
			timer = <2>;
		/* MAX77804_TIMER_MODE_MAX_TIMER */
			timer_mode = <1>;
		/* MAX77804_LED_CTRL_BY_FLASHSTB */
			cntrl_mode = <0>;
			brightness = <0x3D>;
		};
		leds2 {
			ledname = "torch-sec1";
		/* MAX77804_TORCH_LED_1 */
			id = <1>;
		/* MAX77804_LED_CTRL_BY_FLASHSTB */
			cntrl_mode = <0>;
			brightness = <0x06>;
		};
	};

	w1_gpio_exynos {
		status = "okay";
		compatible = "w1_gpio_exynos";
		is_open_drain = <1>;
		slave_speed = <1>;
		w1,gpio = <&gpb2 1 0>;
	};

	health_cover {
		status = "okay";
		compatible = "health_cover";
		health_en,gpio = <&gpb0 2 0>;
	};

	gpio_keys {
		compatible = "gpio-keys";
		#address-cells = <1>;
		#size-cells = <0>;
		poll-interval = <100>;
		button@1 {
			label = "gpio-keys: KEY_POWER";
			interrupts = <2 0 0>;
			interrupt-parent = <&gpx2>;
			linux,code = <116>;
			gpios = <&gpx2 2 0xf>;
			gpio-key,wakeup = <1>;
		};
		button@2 {
			label = "gpio-keys: KEY_VOLUMEDOWN";
			interrupts = <3 0 0>;
			interrupt-parent = <&gpx0>;
			linux,code = <114>;
			gpios = <&gpx0 3 0xf>;
		};
		button@3 {
			label = "gpio-keys: KEY_VOLUMEUP";
			interrupts = <2 0 0>;
			interrupt-parent = <&gpx0>;
			linux,code = <115>;
			gpios = <&gpx0 2 0xf>;
		};
		button@4 {
			label = "gpio-keys: KEY_HOMEPAGE";
			interrupts = <5 0 0>;
			interrupt-parent = <&gpx0>;
			linux,code = <172>;
			gpios = <&gpx0 5 0xf>;
			gpio-key,wakeup = <1>;
		};
	};

	sec_input_debug-keys {
		compatible = "sec_input_debug-keys";

		button@1 {
			label = "debug-keys: KEY_POWER";
			linux,code = <116>;
		};
		button@2 {
			label = "debug-keys: KEY_VOLUMEDOWN";
			linux,code = <114>;
			state = "true";
		};
		button@3 {
			label = "debug-keys: KEY_VOLUMEUP";
			linux,code = <115>;
		};
	};

	pinctrl@13400000 {
		cfg_wlanen: cfg-wlanen {
			samsung,pins = "gpy7-7";
			samsung,pin-function = <1>;
			samsung,pin-pud = <0>;
			samsung,pin-drv = <3>;
			samsung,pin-con-pdn = <3>;
			samsung,pin-pud-pdn = <0>;
		};

		cfg_wlanhostwake: cfg-wlanhostwake {
			samsung,pins = "gpx2-0";
			samsung,pin-function = <0>;
			samsung,pin-pud = <1>;
			samsung,pin-con-pdn = <2>;
			samsung,pin-pud-pdn = <0>;
		};
	};

	wlan {
		compatible = "samsung,brcm-wlan";
		gpios = <&gpy7 7 0x1 /* WLAN_EN */
				&gpx2 0 0xF	/* WLAN_HOST_WAKE */
				>;
		pinctrl-names = "default";
		pinctrl-0=<&cfg_wlanen &cfg_wlanhostwake>;
		status = "okay";
	};

	usb@12000000 {
		status = "okay";
		/* using gpio (1:use, 0:not use) */
		is_gpio = <0>;

		dwc3 {
			maximum-speed = "super-speed";
			dr_mode = "otg";
		};
	};

	usb@12400000 {
		status = "okay";
		/* using gpio (1:use, 0:not use) */
		is_gpio = <0>;

		dwc3 {
			maximum-speed = "super-speed";
			dr_mode = "otg";
		};
	};

	usb@12110000 {
		/* using gpio (1:use, 0:not use) */
		is_gpio = <0>;
	};

	usb_notifier {
		compatible = "samsung,usb-notifier";
	};

	eax: eax {
		compatible = "samsung,exynos-amixer";
		status = "okay";
	};

	i2s0: i2s@03830000 {
		samsung,amixer = <4>;
		status = "okay";
	};

	i2s_dummy: dummy-i2s {
		compatible = "samsung,dummy-i2s";
		status = "okay";
	};

	sound {
		compatible = "samsung,pacific-arizona";
		samsung,audio-cpu = <&i2s0>;
		samsung,audio-codec = <&audio_codec
				       &audio_codec /* NULL */
				       &audio_codec /* NULL */
				       &audio_codec
				       &audio_codec
				       &audio_codec
				       &audio_codec
				       &audio_codec
				       &audio_codec
				       &audio_codec>;

		clocks = <&clock 4200>;
		clock-names = "mclk";

		status = "okay";
	};

	input_booster {
		status = "okay";
		compatible = "input_booster";
		#address-cells = <1>;
		#size-cells = <0>;

		booster_key@1 {
			input_booster,label = "TOUCH";
			input_booster,type = <0>;	/* BOOSTER_DEVICE_TOUCH */

			input_booster,levels = <1 2 3 4 5 9 10>;

			/* Frequency table */
			/* for level	:		1_Head, 2_Tail, 3_Head, 4_Head/Tail, 5_Head, 9_Head, 9_Tail */
			input_booster,cpu_freqs = <1600000 0 0 0 1200000 1900000 1600000>;
			input_booster,hmp_boost = <1 0 0 0 1 1 1>;
			input_booster,kfc_freqs = <1000000 1200000 1300000 1300000 800000 1300000 1300000>;
			input_booster,mif_freqs = <633000 413000 413000 633000 633000 825000 825000>;
			input_booster,int_freqs = <333000 110000 111000 111000 333000 400000 400000>;

			/* Time table */
			input_booster,head_times = <130 130 130 130 100 500 0>;
			input_booster,tail_times = <500 500 500 200 500 1000 0>;
			input_booster,phase_times = <0 0 0 0 40 0 0>;
		};
		/* If you need to add new key type, add it this position */
	};

	sec_thermistor {
		compatible = "samsung,sec-ap-thermistor";
		status = "okay";

		/* HA data */
		adc_array = <181 189 197 205 213 221 229 237 245 253 261 269 277 286 297 309 318 329 340 350
		             361 370 380 393 405 418 431 446 460 473 489 503 520 536 552 569 586 604 622 640
		             659 679 698 718 739 759 781 803 824 847 869 891 914 938 959 982 1005 1030 1052
		             1076 1099 1126 1145 1168 1193 1215 1239 1263 1286 1309 1333 1354 1377 1397 1418
		             1439 1459 1483 1497 1518 1537 1557 1557 1593 1611 1628 1645 1661 1678 1693 1704
		             1718 1732 1745 1757 1770 1781 1794 1805 1815 1827>;

		temp_array = <800 790 780 770 760 750 740 730 720 710 700 690 680 670 660 650 640 630 620 610
		              600 590 580 570 560 550 540 530 520 510 500 490 480 470 460 450 440 430 420 410
		              400 390 380 370 360 350 340 330 320 310 300 290 280 270 260 250 240 230 220 210
		              200 190 180 170 160 150 140 130 120 110 100 90 80 70 60 50 40 30 20 10 0 (-10)
		             (-20) (-30) (-40) (-50) (-60) (-70) (-80) (-90) (-100) (-110) (-120) (-130) (-140)
		             (-150) (-160) (-170) (-180) (-190) (-200)>;

		io-channels = <&exynos_adc 0>;
		io-channel-names = "adc-ap-temp";
		io-channel-ranges;
	};

	secgpio_dvs {
		compatible = "samsung,exynos5422-secgpio-dvs";
		status = "okay";
	};

	ion {
		compatible = "samsung,exynos5430-ion";

		contig-names = "common",
			       "video_ext",
			       "mfc_sh",
			       "g2d_wfd",
			       "video",
			       "sectbl",
			       "mfc_fw",
			       "mfc_nfw",
			       "secdma";

		contig = <0 0x400000 0x0>,
		         <1 0x600000 0x0>,
		         <2 0x100000 0x0>,
		         <10 0x800000 0x0>,
		         <11 0xA800000 0x0>,
		         <9 0x100000 0x0>,
		         <8 0x200000 0x0>,
		         <12 0x200000 0x0>,
		         <13 0x20000 0x0>;

		contig-isolate_on_boot = <0>, <1>, <2>, <8>,
					  <9>, <10>, <11>, <12>, <13>;

		secure = <11>, <9>, <8>, <1>;

		ion_noncontig_heap {
			id-type = <0 0>;
		};

		exynos_contig_heap {
			id-type = <4 6>;
		};
	};

	ipa_pdata {
		compatible = "samsung,exynos-ipa";

		control_temp = <50>;
		temp_threshold = <10>;
		enabled = <1>;
		tdp = <3500>;
		boost = <1>;
		ros_power = <500>;
		a7_weight = <1024>;
		a15_weight = <256>;
		gpu_weight = <256>;
		a7_max_power = <1000>;
		a15_max_power = <6552>;
		gpu_max_power = <3110>;
		hotplug_out_threshold = <10>;
		hotplug_in_threshold = <0>;
		enable_ctlr = <1>;
		ctlr.mult = <2>;
		ctlr.k_i = <1>;
		ctlr.k_d = <0>;
		ctlr.feed_forward = <1>;
		ctlr.integral_reset_value = <0>;
		ctlr.integral_cutoff = <0>;
		ctlr.integral_reset_threshold = <5>;
	};
	
	usb_notifier {
		samsung,can-disable-usb;
	};
};
